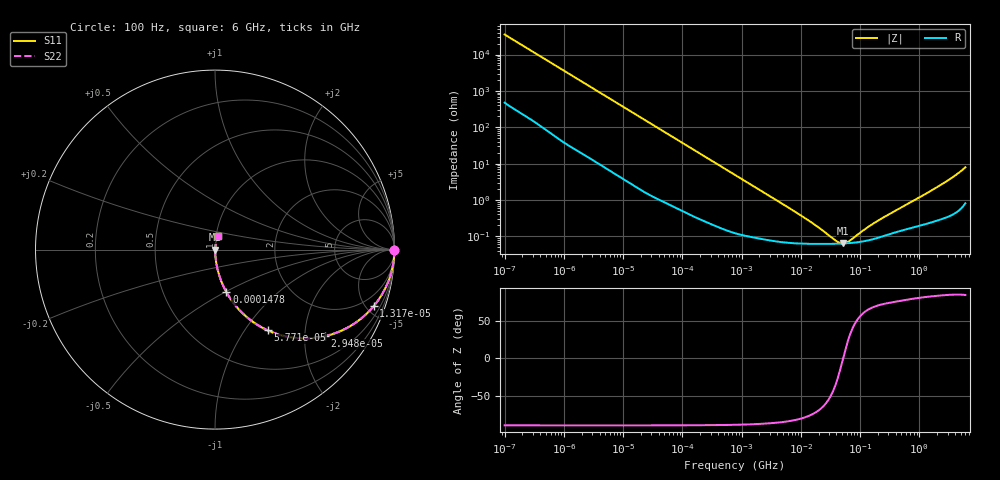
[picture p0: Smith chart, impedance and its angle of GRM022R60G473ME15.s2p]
!Murata Part Number: GRM022R60G473ME15
!These Parameters are Measured in Series Mode Connection
!Data Generated on Mar 30, 2021
!  o--ll--o
!Port1  Port2
!  o------o
!Operation Temp=25[degC], DC Bias Voltage=0[V]
!Freq. Start=100[Hz] Stop=6[GHz] 401[Steps]
# Hz S RI R 50
!Freq.(Hz) S11(Real) S11(Imag) S21(Real) S21(Imag) S12(Real) S12(Imag) S22(Real) S22(Imag)
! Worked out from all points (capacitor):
!   401 points, 100 Hz to 6 GHz, reference 50 ohm
!   read as one part in series: C = 44.6 nF near 109 Hz
!   lowest |Z| = 63.9 mohm at 52.11 MHz (marker M1)
!   series resonance near 51.75 MHz, so ESL is about 210 pH
!   S11 on the Smith chart (normalised r, x): 100 Hz: open; 13.17 kHz: 1.06, -5.59; 29.48 kHz: 1.03, -2.51; 57.71 kHz: 1.02, -1.29; 147.8 kHz: 1.01, -0.51; 6 GHz: 1.02, +0.16
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100  1 -0.00281  4.54e-05 0.00281  4.54e-05 0.00281  1 -0.00281
627  0.9995 -0.0174  0.000496 0.0174  0.000496 0.0174  0.9995 -0.0174
2008  0.9964 -0.055  0.00362 0.055  0.00362 0.055  0.9964 -0.055
5378  0.9774 -0.1434  0.0226 0.1434  0.0226 0.1434  0.9774 -0.1434
8801  0.9436 -0.2256  0.0564 0.2256  0.0564 0.2256  0.9436 -0.2256
13169  0.884 -0.3151  0.116 0.3151  0.116 0.3151  0.884 -0.3151
19704  0.7757 -0.4121  0.2243 0.4121  0.2243 0.4121  0.7757 -0.4121
29482  0.6102 -0.4825  0.3898 0.4825  0.3898 0.4825  0.6102 -0.4825
40335  0.458 -0.4927  0.542 0.4927  0.542 0.4927  0.458 -0.4927
57709  0.295 -0.4501  0.705 0.4501  0.705 0.4501  0.295 -0.4501
90302  0.1487 -0.3493  0.8513 0.3493  0.8513 0.3493  0.1487 -0.3493
147774  0.0632 -0.2362  0.9368 0.2362  0.9368 0.2362  0.0632 -0.2362
316350  0.016 -0.1168  0.984 0.1168  0.984 0.1168  0.016 -0.1168
774597  0.0036 -0.0487  0.9964 0.0487  0.9964 0.0487  0.0036 -0.0487
1.555665e7  0.000628 -0.00226  0.9994 0.00226  0.9994 0.00226  0.000628 -0.00226
3.983537e7  0.000628 -0.000394  0.9994 0.000394  0.9994 0.000394  0.000628 -0.000394
5.211241e7  0.000639 1.07e-05  0.9994 -1.07e-05  0.9994 -1.07e-05  0.000639 1.07e-05
6.518806e7  0.000654 0.000346  0.9993 -0.000346  0.9993 -0.000346  0.000654 0.000346
1.459435e8  0.000797 0.00178  0.9992 -0.00178  0.9992 -0.00178  0.000797 0.00178
3.124326e8  0.00116 0.00393  0.9988 -0.00393  0.9988 -0.00393  0.00116 0.00393
2.142435e9  0.00338 0.0239  0.9966 -0.0239  0.9966 -0.0239  0.00338 0.0239
6e9  0.0141 0.0772  0.9859 -0.0772  0.9859 -0.0772  0.0141 0.0772
